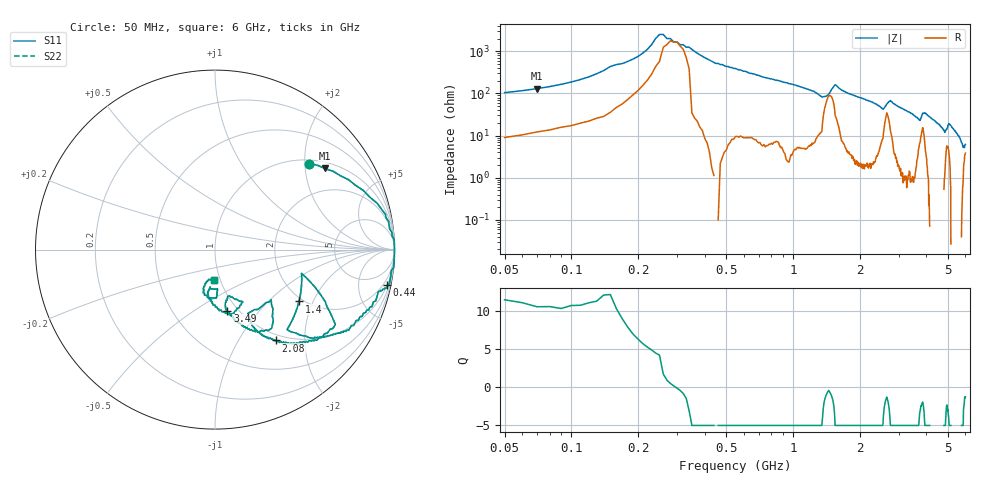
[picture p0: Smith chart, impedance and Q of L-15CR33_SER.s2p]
# MHZ S MA R 50
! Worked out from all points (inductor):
!   596 points, 50 MHz to 6 GHz, reference 50 ohm
!   read as one part in series: L = 267 nH near 70 MHz
!   highest Q = 11.1 at 70 MHz (marker M1), where L = 294 nH
!   self-resonance near 296.5 MHz
!   S11 on the Smith chart (normalised r, x): 50 MHz: 1.09, +2.10; 440 MHz: 0.96, -9.67; 1.4 GHz: 1.90, -1.58; 2.08 GHz: 0.91, -1.46; 3.49 GHz: 0.89, -0.70; 6 GHz: 0.93, -0.33
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50  0.71 42.4  0.67 -42.1  0.67 -42.1  0.71 42.4
70  0.76 36.5  0.58 -48.2  0.58 -48.2  0.76 36.5
150  0.96 12.9  0.22 -72.4  0.22 -72.4  0.96 12.9
260  1 0.0  0.04 -60.2  0.04 -60.2  1 0.0
440  0.98 -11.7  0.18 78.2  0.18 78.2  0.98 -11.7
1050  0.83 -34.2  0.54 53.7  0.54 53.7  0.83 -34.2
1320  0.64 -46.3  0.69 36.9  0.69 36.9  0.64 -46.3
1400  0.55 -31.7  0.62 20.9  0.62 20.9  0.55 -31.7
1460  0.53 -17.0  0.52 11.9  0.52 11.9  0.53 -17.0
1560  0.79 -32.9  0.49 47.2  0.49 47.2  0.79 -32.9
2040  0.63 -55.2  0.76 33.7  0.76 33.7  0.63 -55.2
2080  0.61 -56.1  0.77 32.7  0.77 32.7  0.61 -56.1
2530  0.41 -63.2  0.84 18.0  0.84 18.0  0.41 -63.2
2640  0.42 -43.9  0.71 14.2  0.71 14.2  0.42 -43.9
2770  0.54 -55.9  0.75 25.6  0.75 25.6  0.54 -55.9
3030  0.46 -69.1  0.86 20.5  0.86 20.5  0.46 -69.1
3490  0.35 -78.6  0.91 12.9  0.91 12.9  0.35 -78.6
3750  0.27 -73.8  0.88 6.6  0.88 6.6  0.27 -73.8
4020  0.36 -79.3  0.88 12.0  0.88 12.0  0.36 -79.3
4840  0.22 -97.7  0.92 1.2  0.92 1.2  0.22 -97.7
5010  0.25 -87.4  0.87 2.5  0.87 2.5  0.25 -87.4
6000  0.17 -92.1  0.92 -5.0  0.92 -5.0  0.17 -92.1
